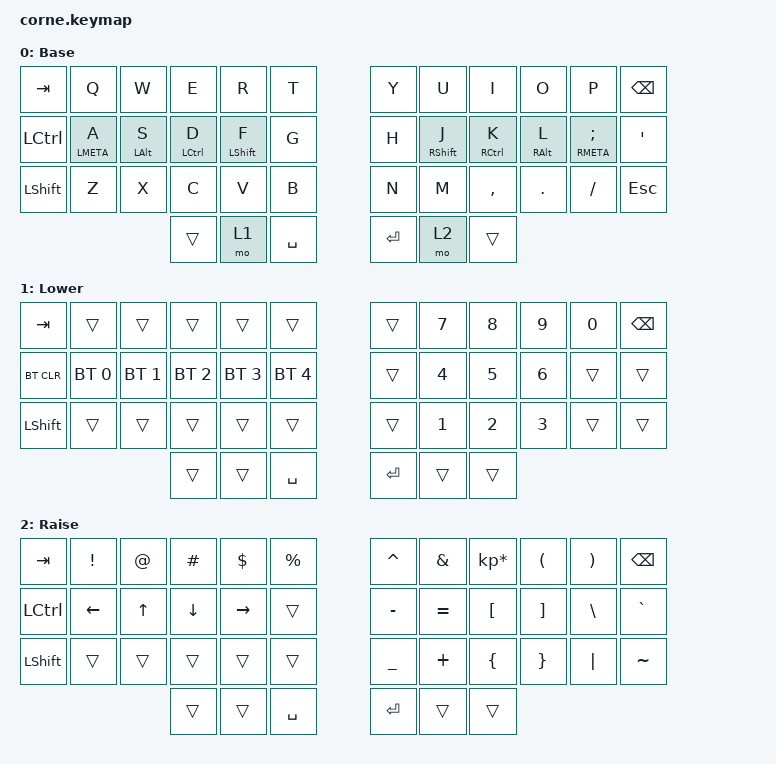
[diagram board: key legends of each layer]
/*
 * Copyright (c) 2020 The ZMK Contributors
 *
 * SPDX-License-Identifier: MIT
 */

#include <behaviors.dtsi>
#include <dt-bindings/zmk/bt.h>
#include <dt-bindings/zmk/keys.h>

/ {
    behaviors {
        hml: homerow_mods_left {
            compatible = "zmk,behavior-hold-tap";
            label = "HOMEROW_MODS_LEFT";
            bindings = <&kp>, <&kp>;

            #binding-cells = <2>;
            tapping-term-ms = <280>;
            hold-trigger-key-positions = <39 40 41 30 31 32 33 34 35 23 22 21 20 19 18 6 7 8 9 10 11>;
            flavor = "balanced";
            quick-tap-ms = <175>;
            require-prior-idle-ms = <150>;
            hold-trigger-on-release;
        };

        hmr: homerow_mods_right {
            compatible = "zmk,behavior-hold-tap";
            label = "HOMEROW_MODS_RIGHT";
            bindings = <&kp>, <&kp>;

            #binding-cells = <2>;
            tapping-term-ms = <280>;
            hold-trigger-key-positions = <0 0 1 2 3 4 5 12 13 14 15 16 17 24 25 26 27 28 29 36 37 38>;
            flavor = "balanced";
            quick-tap-ms = <175>;
            require-prior-idle-ms = <150>;
            hold-trigger-on-release;
        };
    };

    keymap {
        compatible = "zmk,keymap";

        default_layer {
            // -----------------------------------------------------------------------------------------
            // |  TAB |  Q  |  W  |  E  |  R  |  T  |   |  Y  |  U   |  I  |  O  |  P  | BKSP |
            // | CTRL |  A  |  S  |  D  |  F  |  G  |   |  H  |  J   |  K  |  L  |  ;  |  '   |
            // | SHFT |  Z  |  X  |  C  |  V  |  B  |   |  N  |  M   |  ,  |  .  |  /  | ESC  |
            //                    | GUI | LWR | SPC |   | ENT | RSE  | ALT |

            display-name = "Base";
            bindings = <
&kp TAB    &kp Q         &kp W        &kp E         &kp R         &kp T        &kp Y    &kp U         &kp I         &kp O        &kp P            &kp BSPC
&kp LCTRL  &hml LMETA A  &hml LALT S  &hml LCTRL D  &hml LSHFT F  &kp G        &kp H    &hmr RSHFT J  &hmr RCTRL K  &hmr RALT L  &hmr RMETA SEMI  &kp SQT
&kp LSHFT  &kp Z         &kp X        &kp C         &kp V         &kp B        &kp N    &kp M         &kp COMMA     &kp DOT      &kp FSLH         &kp ESC
                                      &trans        &mo 1         &kp SPACE    &kp RET  &mo 2         &trans
            >;
        };

        lower_layer {
            // -----------------------------------------------------------------------------------------
            // |  TAB |  1  |  2  |  3  |  4  |  5  |   |  6  |  7  |  8  |  9  |  0  | BKSP |
            // | BTCLR| BT1 | BT2 | BT3 | BT4 | BT5 |   | LFT | DWN |  UP | RGT |     |      |
            // | SHFT |     |     |     |     |     |   |     |     |     |     |     |      |
            //                    | GUI |     | SPC |   | ENT |     | ALT |

            display-name = "Lower";
            bindings = <
&kp TAB     &trans        &trans        &trans        &trans        &trans          &trans   &kp N7        &kp N8        &kp N9        &kp N0  &kp BSPC
&bt BT_CLR  &bt BT_SEL 0  &bt BT_SEL 1  &bt BT_SEL 2  &bt BT_SEL 3  &bt BT_SEL 4    &trans   &kp NUMBER_4  &kp N5        &kp NUMBER_6  &trans  &trans
&kp LSHFT   &trans        &trans        &trans        &trans        &trans          &trans   &kp NUMBER_1  &kp NUMBER_2  &kp NUMBER_3  &trans  &trans
                                        &trans        &trans        &kp SPACE       &kp RET  &trans        &trans
            >;
        };

        raise_layer {
            // -----------------------------------------------------------------------------------------
            // |  TAB |  !  |  @  |  #  |  $  |  %  |   |  ^  |  &  |  *  |  (  |  )  | BKSP |
            // | CTRL |     |     |     |     |     |   |  -  |  =  |  [  |  ]  |  \  |  `   |
            // | SHFT |     |     |     |     |     |   |  _  |  +  |  {  |  }  | "|" |  ~   |
            //                    | GUI |     | SPC |   | ENT |     | ALT |

            display-name = "Raise";
            bindings = <
&kp TAB    &kp EXCL  &kp AT        &kp HASH  &kp DLLR   &kp PRCNT    &kp CARET  &kp AMPS   &kp KP_MULTIPLY  &kp LPAR  &kp RPAR  &kp BSPC
&kp LCTRL  &kp LEFT  &kp UP_ARROW  &kp DOWN  &kp RIGHT  &trans       &kp MINUS  &kp EQUAL  &kp LBKT         &kp RBKT  &kp BSLH  &kp GRAVE
&kp LSHFT  &trans    &trans        &trans    &trans     &trans       &kp UNDER  &kp PLUS   &kp LBRC         &kp RBRC  &kp PIPE  &kp TILDE
                                   &trans    &trans     &kp SPACE    &kp RET    &trans     &trans
            >;
        };
    };
};
